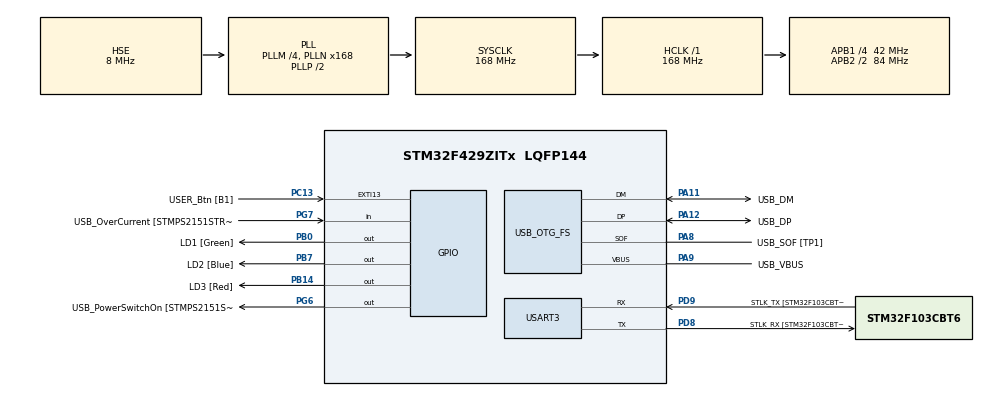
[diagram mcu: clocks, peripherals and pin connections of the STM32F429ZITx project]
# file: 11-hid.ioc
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Mcu.Family=STM32F4
Mcu.Name=STM32F429ZITx
Mcu.Package=LQFP144
NVIC.OTG_FS_IRQn=true\:0\:0\:false\:false\:true\:false\:true\:true
NVIC.PriorityGroup=NVIC_PRIORITYGROUP_4
PA1.GPIO_Label=RMII_REF_CLK [LAN8742A-CZ-TR_REFCLK0]
PA1.Signal=ETH_REF_CLK
PA10.GPIO_Label=USB_ID
PA10.Signal=USB_OTG_FS_ID
PA11.GPIO_Label=USB_DM
PA11.Mode=Device_Only
PA11.Signal=USB_OTG_FS_DM
PA12.GPIO_Label=USB_DP
PA12.Mode=Device_Only
PA12.Signal=USB_OTG_FS_DP
PA13.GPIO_Label=TMS
PA13.Mode=Serial_Wire
PA13.Signal=SYS_JTMS-SWDIO
PA14.GPIO_Label=TCK
PA14.Mode=Serial_Wire
PA14.Signal=SYS_JTCK-SWCLK
PA2.GPIO_Label=RMII_MDIO [LAN8742A-CZ-TR_MDIO]
PA2.Signal=ETH_MDIO
PA7.GPIO_Label=RMII_CRS_DV [LAN8742A-CZ-TR_CRS_DV]
PA7.Signal=ETH_CRS_DV
PA8.GPIO_Label=USB_SOF [TP1]
PA8.Mode=Activate_SOF_FS
PA8.Signal=USB_OTG_FS_SOF
PA9.GPIO_Label=USB_VBUS
PA9.Mode=Activate_VBUS
PA9.Signal=USB_OTG_FS_VBUS
PB0.GPIO_Label=LD1 [Green]
PB0.Signal=GPIO_Output
PB13.GPIO_Label=RMII_TXD1 [LAN8742A-CZ-TR_TXD1]
PB13.Signal=ETH_TXD1
PB14.GPIO_Label=LD3 [Red]
PB14.Signal=GPIO_Output
PB7.GPIO_Label=LD2 [Blue]
PB7.Signal=GPIO_Output
PC1.GPIO_Label=RMII_MDC [LAN8742A-CZ-TR_MDC]
PC1.Signal=ETH_MDC
PC13.GPIO_Label=USER_Btn [B1]
PC13.Signal=GPXTI13
PC14/OSC32_IN.Mode=LSE-External-Oscillator
PC14/OSC32_IN.Signal=RCC_OSC32_IN
PC15/OSC32_OUT.Mode=LSE-External-Oscillator
PC15/OSC32_OUT.Signal=RCC_OSC32_OUT
PC4.GPIO_Label=RMII_RXD0 [LAN8742A-CZ-TR_RXD0]
PC4.Signal=ETH_RXD0
PC5.GPIO_Label=RMII_RXD1 [LAN8742A-CZ-TR_RXD1]
PC5.Signal=ETH_RXD1
PD8.GPIO_Label=STLK_RX [STM32F103CBT6_PA3]
PD8.Mode=Asynchronous
PD8.Signal=USART3_TX
PD9.GPIO_Label=STLK_TX [STM32F103CBT6_PA2]
PD9.Mode=Asynchronous
PD9.Signal=USART3_RX
PG11.GPIO_Label=RMII_TX_EN [LAN8742A-CZ-TR_TXEN]
PG11.Signal=ETH_TX_EN
PG13.GPIO_Label=RMII_TXD0 [LAN8742A-CZ-TR_TXD0]
PG13.Signal=ETH_TXD0
PG6.GPIO_Label=USB_PowerSwitchOn [STMPS2151STR_EN]
PG6.Signal=GPIO_Output
PG7.GPIO_Label=USB_OverCurrent [STMPS2151STR_FAULT]
PG7.Signal=GPIO_Input
PH0/OSC_IN.GPIO_Label=MCO [STM32F103CBT6_PA8]
PH0/OSC_IN.Mode=HSE-External-Clock-Source
PH0/OSC_IN.Signal=RCC_OSC_IN
PH1/OSC_OUT.Mode=HSE-External-Clock-Source
PH1/OSC_OUT.Signal=RCC_OSC_OUT
ProjectManager.HeapSize=0x200
ProjectManager.StackSize=0x400
ProjectManager.TargetToolchain=STM32CubeIDE
RCC.48MHZClocksFreq_Value=48000000
RCC.AHBFreq_Value=168000000
RCC.APB1CLKDivider=RCC_HCLK_DIV4
RCC.APB1Freq_Value=42000000
RCC.APB1TimFreq_Value=84000000
RCC.APB2CLKDivider=RCC_HCLK_DIV2
RCC.APB2Freq_Value=84000000
RCC.APB2TimCLKDivider=2
RCC.APB2TimFreq_Value=168000000
RCC.CortexFreq_Value=168000000
RCC.HCLKFreq_Value=168000000
RCC.HSE_VALUE=8000000
RCC.HSI_VALUE=16000000
RCC.PLLM=4
RCC.PLLMUL=RCC_PLL_MUL9
RCC.PLLN=168
RCC.PLLQ=7
RCC.PRESCALERUSB=RCC_USBCLKSOURCE_PLL_DIV1_5
RCC.SYSCLKFreq_VALUE=168000000
RCC.SYSCLKSource=RCC_SYSCLKSOURCE_PLLCLK
RCC.SYSCLKSourceVirtual=RCC_SYSCLKSOURCE_PLLCLK
RCC.USBFreq_Value=48000000
RCC.VCOOutputFreq_Value=336000000
USART3.VirtualMode=VM_ASYNC
USB_DEVICE.CLASS_NAME_FS=HID
USB_DEVICE.VirtualMode-HID_FS=Hid
USB_DEVICE.VirtualModeFS=Hid_FS
USB_OTG_FS.VirtualMode=Device_Only
VP_USB_DEVICE_VS_USB_DEVICE_HID_FS.Mode=HID_FS
board=NUCLEO-F429ZI

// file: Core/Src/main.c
/* USER CODE BEGIN Header */
/**
 ******************************************************************************
 * @file           : main.c
 * @brief          : Main program body
 ******************************************************************************
 * @attention
 *
 * Copyright (c) 2024 STMicroelectronics.
 * All rights reserved.
 *
 * This software is licensed under terms that can be found in the LICENSE file
 * in the root directory of this software component.
 * If no LICENSE file comes with this software, it is provided AS-IS.
 *
 ******************************************************************************
 */
/* USER CODE END Header */
#include "main.h"
#include "usb_device.h"

/* USER CODE BEGIN Includes */
#include "usbd_hid.h"
#include <math.h>
/* USER CODE END Includes */

UART_HandleTypeDef huart3;

/* USER CODE BEGIN PV */
extern USBD_HandleTypeDef hUsbDeviceFS;
static const float RADIUS = 120;
static const float STEPS = 50;
/* USER CODE END PV */

void SystemClock_Config(void);
static void MX_GPIO_Init(void);
static void MX_USART3_UART_Init(void);

/* USER CODE BEGIN 0 */
static void step(int8_t x, int8_t y, int8_t btn) {
	uint8_t buff[4];
	buff[0] = btn; // press the left button
	buff[1] = x; // shift X +10
	buff[2] = y; // shift Y -3
	buff[3] = 0; // no scroll
	USBD_HID_SendReport(&hUsbDeviceFS, buff, sizeof(buff));
	HAL_Delay(USBD_HID_GetPollingInterval(&hUsbDeviceFS));
}

static void arch(float r, uint16_t startdeg, uint16_t enddeg) {

	uint16_t startstep = startdeg/(360/STEPS);
	uint16_t endstep = enddeg/(360/STEPS);
	step(r, 0, 0);
	int8_t sx = r * cosf(((-360/STEPS)/180)*M_PI);
	int8_t sy = r * sinf(((-360/STEPS)/180)*M_PI);
	for (float i = 0; i <= STEPS; i++) {
		int8_t x = r * cosf(((i*(360/STEPS))/180)*M_PI);
		int8_t y = r * sinf(((i*(360/STEPS))/180)*M_PI);

		if(i > startstep && i <= endstep) step(0,0,1);

		step(x-sx, y-sy, 0);

		sx = x;
		sy = y;
		}

	step(0, 0, 0);
	step(-r, 0, 0);
}

static void circle(float r) {
//	step(r, 0, 0);
//	int8_t sx = r * cosf((((-1)*7.2)/180)*M_PI);
//	int8_t sy = r * sinf((((-1)*7.2)/180)*M_PI);
//	for (float i = 0; i <= 50; i++) {
//		int8_t x = r * cosf((((i)*7.2)/180)*M_PI);
//		int8_t y = r * sinf((((i)*7.2)/180)*M_PI);
//
//		step(x-sx, y-sy, 1);
//
//		sx = x;
//		sy = y;
//		}
//	step(0, 0, 0);
//	step(-r, 0, 0);

	arch(r, 0, 360);
}
/* USER CODE END 0 */

int main(void)
{

	/* MCU Configuration--------------------------------------------------------*/

	/* Reset of all peripherals, Initializes the Flash interface and the Systick. */
	HAL_Init();

	/* Configure the system clock */
	SystemClock_Config();

	/* Initialize all configured peripherals */
	MX_GPIO_Init();
	MX_USART3_UART_Init();
	MX_USB_DEVICE_Init();

	/* Infinite loop */
	/* USER CODE BEGIN WHILE */
	while (1)
	{
		if (HAL_GPIO_ReadPin(USER_Btn_GPIO_Port, USER_Btn_Pin)) {

			circle(RADIUS);	//HLAVA
			step(0,0,0);

			step(-RADIUS/2, -RADIUS/4, 0); //OKO L
			circle(RADIUS/8);

			step(RADIUS, 0, 0); //OKO R
			circle(RADIUS/8);

			step(-RADIUS/2, 0, 0); //NOS
			step(0, 0, 1);
			step(0, RADIUS/2, 1);
			step(0, 0, 0);

			step(0, -RADIUS/4, 0); //PUSA
			arch(RADIUS/2, 30, 150);
			step(0, 0, 0);

		};
		/* USER CODE END WHILE */

	}
}

void SystemClock_Config(void)
{
	RCC_OscInitTypeDef RCC_OscInitStruct = {0};
	RCC_ClkInitTypeDef RCC_ClkInitStruct = {0};

	/** Configure the main internal regulator output voltage
	 */
	__HAL_RCC_PWR_CLK_ENABLE();
	__HAL_PWR_VOLTAGESCALING_CONFIG(PWR_REGULATOR_VOLTAGE_SCALE1);

	/** Initializes the RCC Oscillators according to the specified parameters
	 * in the RCC_OscInitTypeDef structure.
	 */
	RCC_OscInitStruct.OscillatorType = RCC_OSCILLATORTYPE_HSE;
	RCC_OscInitStruct.HSEState = RCC_HSE_BYPASS;
	RCC_OscInitStruct.PLL.PLLState = RCC_PLL_ON;
	RCC_OscInitStruct.PLL.PLLSource = RCC_PLLSOURCE_HSE;
	RCC_OscInitStruct.PLL.PLLM = 4;
	RCC_OscInitStruct.PLL.PLLN = 168;
	RCC_OscInitStruct.PLL.PLLP = RCC_PLLP_DIV2;
	RCC_OscInitStruct.PLL.PLLQ = 7;
	if (HAL_RCC_OscConfig(&RCC_OscInitStruct) != HAL_OK)
	{
		Error_Handler();
	}

	/** Initializes the CPU, AHB and APB buses clocks
	 */
	RCC_ClkInitStruct.ClockType = RCC_CLOCKTYPE_HCLK|RCC_CLOCKTYPE_SYSCLK
			|RCC_CLOCKTYPE_PCLK1|RCC_CLOCKTYPE_PCLK2;
	RCC_ClkInitStruct.SYSCLKSource = RCC_SYSCLKSOURCE_PLLCLK;
	RCC_ClkInitStruct.AHBCLKDivider = RCC_SYSCLK_DIV1;
	RCC_ClkInitStruct.APB1CLKDivider = RCC_HCLK_DIV4;
	RCC_ClkInitStruct.APB2CLKDivider = RCC_HCLK_DIV2;

	if (HAL_RCC_ClockConfig(&RCC_ClkInitStruct, FLASH_LATENCY_5) != HAL_OK)
	{
		Error_Handler();
	}
}

static void MX_USART3_UART_Init(void)
{

	huart3.Instance = USART3;
	huart3.Init.BaudRate = 115200;
	huart3.Init.WordLength = UART_WORDLENGTH_8B;
	huart3.Init.StopBits = UART_STOPBITS_1;
	huart3.Init.Parity = UART_PARITY_NONE;
	huart3.Init.Mode = UART_MODE_TX_RX;
	huart3.Init.HwFlowCtl = UART_HWCONTROL_NONE;
	huart3.Init.OverSampling = UART_OVERSAMPLING_16;
	if (HAL_UART_Init(&huart3) != HAL_OK)
	{
		Error_Handler();
	}

}

static void MX_GPIO_Init(void)
{
	GPIO_InitTypeDef GPIO_InitStruct = {0};

	/* GPIO Ports Clock Enable */
	__HAL_RCC_GPIOC_CLK_ENABLE();
	__HAL_RCC_GPIOH_CLK_ENABLE();
	__HAL_RCC_GPIOA_CLK_ENABLE();
	__HAL_RCC_GPIOB_CLK_ENABLE();
	__HAL_RCC_GPIOD_CLK_ENABLE();
	__HAL_RCC_GPIOG_CLK_ENABLE();

	/*Configure GPIO pin Output Level */
	HAL_GPIO_WritePin(GPIOB, LD1_Pin|LD3_Pin|LD2_Pin, GPIO_PIN_RESET);

	/*Configure GPIO pin Output Level */
	HAL_GPIO_WritePin(USB_PowerSwitchOn_GPIO_Port, USB_PowerSwitchOn_Pin, GPIO_PIN_RESET);

	/*Configure GPIO pin : USER_Btn_Pin */
	GPIO_InitStruct.Pin = USER_Btn_Pin;
	GPIO_InitStruct.Mode = GPIO_MODE_IT_RISING;
	GPIO_InitStruct.Pull = GPIO_NOPULL;
	HAL_GPIO_Init(USER_Btn_GPIO_Port, &GPIO_InitStruct);

	/*Configure GPIO pins : RMII_MDC_Pin RMII_RXD0_Pin RMII_RXD1_Pin */
	GPIO_InitStruct.Pin = RMII_MDC_Pin|RMII_RXD0_Pin|RMII_RXD1_Pin;
	GPIO_InitStruct.Mode = GPIO_MODE_AF_PP;
	GPIO_InitStruct.Pull = GPIO_NOPULL;
	GPIO_InitStruct.Speed = GPIO_SPEED_FREQ_VERY_HIGH;
	GPIO_InitStruct.Alternate = GPIO_AF11_ETH;
	HAL_GPIO_Init(GPIOC, &GPIO_InitStruct);

	/*Configure GPIO pins : RMII_REF_CLK_Pin RMII_MDIO_Pin RMII_CRS_DV_Pin */
	GPIO_InitStruct.Pin = RMII_REF_CLK_Pin|RMII_MDIO_Pin|RMII_CRS_DV_Pin;
	GPIO_InitStruct.Mode = GPIO_MODE_AF_PP;
	GPIO_InitStruct.Pull = GPIO_NOPULL;
	GPIO_InitStruct.Speed = GPIO_SPEED_FREQ_VERY_HIGH;
	GPIO_InitStruct.Alternate = GPIO_AF11_ETH;
	HAL_GPIO_Init(GPIOA, &GPIO_InitStruct);

	/*Configure GPIO pins : LD1_Pin LD3_Pin LD2_Pin */
	GPIO_InitStruct.Pin = LD1_Pin|LD3_Pin|LD2_Pin;
	GPIO_InitStruct.Mode = GPIO_MODE_OUTPUT_PP;
	GPIO_InitStruct.Pull = GPIO_NOPULL;
	GPIO_InitStruct.Speed = GPIO_SPEED_FREQ_LOW;
	HAL_GPIO_Init(GPIOB, &GPIO_InitStruct);

	/*Configure GPIO pin : RMII_TXD1_Pin */
	GPIO_InitStruct.Pin = RMII_TXD1_Pin;
	GPIO_InitStruct.Mode = GPIO_MODE_AF_PP;
	GPIO_InitStruct.Pull = GPIO_NOPULL;
	GPIO_InitStruct.Speed = GPIO_SPEED_FREQ_VERY_HIGH;
	GPIO_InitStruct.Alternate = GPIO_AF11_ETH;
	HAL_GPIO_Init(RMII_TXD1_GPIO_Port, &GPIO_InitStruct);

	/*Configure GPIO pin : USB_PowerSwitchOn_Pin */
	GPIO_InitStruct.Pin = USB_PowerSwitchOn_Pin;
	GPIO_InitStruct.Mode = GPIO_MODE_OUTPUT_PP;
	GPIO_InitStruct.Pull = GPIO_NOPULL;
	GPIO_InitStruct.Speed = GPIO_SPEED_FREQ_LOW;
	HAL_GPIO_Init(USB_PowerSwitchOn_GPIO_Port, &GPIO_InitStruct);

	/*Configure GPIO pin : USB_OverCurrent_Pin */
	GPIO_InitStruct.Pin = USB_OverCurrent_Pin;
	GPIO_InitStruct.Mode = GPIO_MODE_INPUT;
	GPIO_InitStruct.Pull = GPIO_NOPULL;
	HAL_GPIO_Init(USB_OverCurrent_GPIO_Port, &GPIO_InitStruct);

	/*Configure GPIO pins : RMII_TX_EN_Pin RMII_TXD0_Pin */
	GPIO_InitStruct.Pin = RMII_TX_EN_Pin|RMII_TXD0_Pin;
	GPIO_InitStruct.Mode = GPIO_MODE_AF_PP;
	GPIO_InitStruct.Pull = GPIO_NOPULL;
	GPIO_InitStruct.Speed = GPIO_SPEED_FREQ_VERY_HIGH;
	GPIO_InitStruct.Alternate = GPIO_AF11_ETH;
	HAL_GPIO_Init(GPIOG, &GPIO_InitStruct);

}

void Error_Handler(void)
{
	__disable_irq();
	while (1)
	{
	}
}
